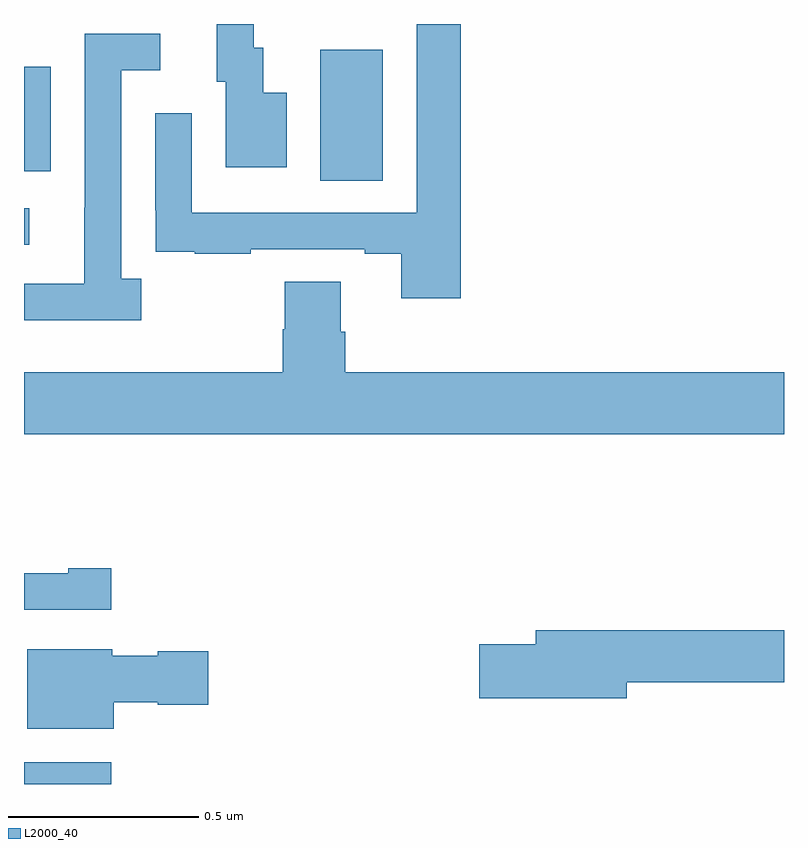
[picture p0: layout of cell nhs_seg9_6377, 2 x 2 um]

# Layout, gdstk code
import gdstk
lib = gdstk.Library(unit=1e-6, precision=1e-09)
def R(c, l, rs):  # rectangles x0, y0, x1, y1
    for r in rs: c.add(gdstk.rectangle(r[:2], r[2:], *l))
def P(c, l, *ps):  # polygons
    for p in ps: c.add(gdstk.Polygon(p, *l))
L2000_40 = (2000, 40)

nhs_seg9_6377 = lib.new_cell('nhs_seg9_6377')
R(nhs_seg9_6377, L2000_40, [(191,1195.5,191.23,1195.557), (191,1196.919,191.014,1197.015), (191.78,1197.088,191.944,1197.432), (191,1197.113,191.071,1197.388)])
P(nhs_seg9_6377, L2000_40, [(192.149,1197.5),(192.033,1197.5),(192.033,1197.003),(191.442,1197.003),(191.442,1197.265),(191.346,1197.265),(191.346,1197.01),(191.347,1197.01),(191.347,1196.901),(191.449,1196.901),(191.449,1196.895),(191.597,1196.895),(191.597,1196.907),(191.897,1196.907),(191.897,1196.895),(191.993,1196.895),(191.993,1196.778),(192.149,1196.778)],
  [(191.692,1197.319),(191.629,1197.319),(191.629,1197.438),(191.604,1197.438),(191.604,1197.5),(191.507,1197.5),(191.507,1197.348),(191.531,1197.348),(191.531,1197.123),(191.692,1197.123)],
  [(191.308,1196.83),(191.256,1196.83),(191.256,1197.378),(191.359,1197.378),(191.359,1197.474),(191.16,1197.474),(191.16,1197.017),(191.159,1197.017),(191.159,1196.817),(191,1196.817),(191,1196.72),(191.308,1196.72)],
  [(193,1196.584),(191.846,1196.584),(191.846,1196.69),(191.833,1196.69),(191.833,1196.822),(191.686,1196.822),(191.686,1196.697),(191.681,1196.697),(191.681,1196.584),(191,1196.584),(191,1196.42),(193,1196.42)],
  [(191.23,1196.068),(191.117,1196.068),(191.117,1196.055),(191,1196.055),(191,1195.959),(191.23,1195.959)],
  [(192.586,1195.768),(193,1195.768),(193,1195.904),(192.347,1195.904),(192.347,1195.868),(192.198,1195.868),(192.198,1195.726),(192.586,1195.726)],
  [(191.236,1195.715),(191.352,1195.715),(191.352,1195.708),(191.485,1195.708),(191.485,1195.85),(191.352,1195.85),(191.352,1195.837),(191.232,1195.837),(191.232,1195.855),(191.009,1195.855),(191.009,1195.646),(191.236,1195.646)])

lib.write_gds('nhs_seg9_6377.gds')
